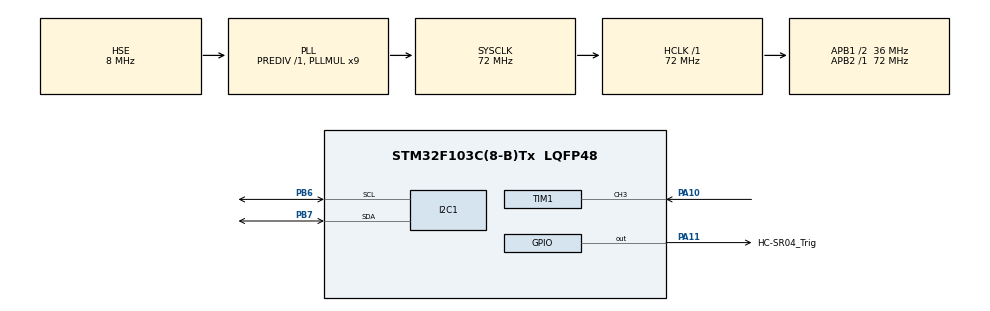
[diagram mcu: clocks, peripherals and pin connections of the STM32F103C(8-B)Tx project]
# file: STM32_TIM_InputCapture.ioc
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Mcu.Family=STM32F1
Mcu.Name=STM32F103C(8-B)Tx
Mcu.Package=LQFP48
NVIC.PriorityGroup=NVIC_PRIORITYGROUP_4
NVIC.TIM1_CC_IRQn=true\:0\:0\:false\:false\:true\:true\:true\:true
PA10.Signal=S_TIM1_CH3
PA11.GPIO_Label=HC-SR04_Trig
PA11.Signal=GPIO_Output
PA13.Mode=Serial_Wire
PA13.Signal=SYS_JTMS-SWDIO
PA14.Mode=Serial_Wire
PA14.Signal=SYS_JTCK-SWCLK
PB6.Mode=I2C
PB6.Signal=I2C1_SCL
PB7.Mode=I2C
PB7.Signal=I2C1_SDA
PD0-OSC_IN.Mode=HSE-External-Oscillator
PD0-OSC_IN.Signal=RCC_OSC_IN
PD1-OSC_OUT.Mode=HSE-External-Oscillator
PD1-OSC_OUT.Signal=RCC_OSC_OUT
ProjectManager.HeapSize=0x200
ProjectManager.StackSize=0x400
ProjectManager.TargetToolchain=STM32CubeIDE
RCC.AHBFreq_Value=72000000
RCC.APB1CLKDivider=RCC_HCLK_DIV2
RCC.APB1Freq_Value=36000000
RCC.APB1TimFreq_Value=72000000
RCC.APB2Freq_Value=72000000
RCC.APB2TimFreq_Value=72000000
RCC.HCLKFreq_Value=72000000
RCC.PLLMUL=RCC_PLL_MUL9
RCC.PLLSourceVirtual=RCC_PLLSOURCE_HSE
RCC.SYSCLKFreq_VALUE=72000000
RCC.SYSCLKSource=RCC_SYSCLKSOURCE_PLLCLK
RCC.USBFreq_Value=72000000
SH.S_TIM1_CH3.0=TIM1_CH3,Input_Capture3_from_TI3
TIM1.Channel-Input_Capture3_from_TI3=TIM_CHANNEL_3
TIM1.Channel-Input_Capture4_from_TI3_63=TIM_CHANNEL_4
TIM1.ICPolarity_CH4=TIM_INPUTCHANNELPOLARITY_FALLING
TIM1.Prescaler=72-1
VP_TIM1_VS_ClockSourceINT.Mode=Internal
VP_TIM1_VS_indirect_ch3.Mode=Input_Capture4_from_TI3_63
board=custom

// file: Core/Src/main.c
/* USER CODE BEGIN Header */
/**
  ******************************************************************************
  * @file           : main.c
  * @brief          : Main program body
  ******************************************************************************
  * @attention
  *
  * Copyright (c) 2025 STMicroelectronics.
  * All rights reserved.
  *
  * This software is licensed under terms that can be found in the LICENSE file
  * in the root directory of this software component.
  * If no LICENSE file comes with this software, it is provided AS-IS.
  *
  ******************************************************************************
  */
/* USER CODE END Header */
#include "main.h"
#include "i2c.h"
#include "tim.h"
#include "gpio.h"

/* USER CODE BEGIN Includes */
#include "oled.h"
#include "string.h"
#include "stdio.h"
/* USER CODE END Includes */

/* USER CODE BEGIN PV */
static uint32_t upEdge=0;
static uint32_t downEdge=0;
static float distance=0;
/* USER CODE END PV */

void SystemClock_Config(void);

/* USER CODE BEGIN 0 */
void HAL_TIM_IC_CaptureCallback(TIM_HandleTypeDef *htim)
{
    if (htim==&htim1 && htim->Channel==HAL_TIM_ACTIVE_CHANNEL_4)
    {
        upEdge=HAL_TIM_ReadCapturedValue(&htim1,TIM_CHANNEL_3);
        downEdge= HAL_TIM_ReadCapturedValue(&htim1,TIM_CHANNEL_4);
        distance=((downEdge-upEdge)*0.034)/2;

    }

}
/* USER CODE END 0 */

int main(void)
{

  /* MCU Configuration--------------------------------------------------------*/

  /* Reset of all peripherals, Initializes the Flash interface and the Systick. */
  HAL_Init();

  /* Configure the system clock */
  SystemClock_Config();

  /* Initialize all configured peripherals */
  MX_GPIO_Init();
  MX_I2C1_Init();
  MX_TIM1_Init();
  /* USER CODE BEGIN 2 */
    HAL_Delay(20);
    OLED_Init();
    HAL_TIM_Base_Start(&htim1);//可省略
    HAL_TIM_IC_Start(&htim1,TIM_CHANNEL_3);
    HAL_TIM_IC_Start_IT(&htim1,TIM_CHANNEL_4);
    OLED_Clean();
    char message[30];

  /* USER CODE END 2 */

  /* Infinite loop */
  while (1)
  {
      HAL_GPIO_WritePin(HC_SR04_Trig_GPIO_Port,HC_SR04_Trig_Pin,GPIO_PIN_SET);
      HAL_Delay(1);
      HAL_GPIO_WritePin(HC_SR04_Trig_GPIO_Port,HC_SR04_Trig_Pin,GPIO_PIN_RESET);
      __HAL_TIM_SET_COUNTER(&htim1,0);//计时器归零防止多次测量后溢出
      HAL_Delay(20);

    OLED_Clean();
      sprintf(message,"%.1f cm",distance);
      OLED_PrintASCIIString(0,0,message,&afont16x8,OLED_COLOR_NORMAL);
    OLED_ShowFrame();
      HAL_Delay(500);
  }
}

void SystemClock_Config(void)
{
  RCC_OscInitTypeDef RCC_OscInitStruct = {0};
  RCC_ClkInitTypeDef RCC_ClkInitStruct = {0};

  /** Initializes the RCC Oscillators according to the specified parameters
  * in the RCC_OscInitTypeDef structure.
  */
  RCC_OscInitStruct.OscillatorType = RCC_OSCILLATORTYPE_HSE;
  RCC_OscInitStruct.HSEState = RCC_HSE_ON;
  RCC_OscInitStruct.HSEPredivValue = RCC_HSE_PREDIV_DIV1;
  RCC_OscInitStruct.HSIState = RCC_HSI_ON;
  RCC_OscInitStruct.PLL.PLLState = RCC_PLL_ON;
  RCC_OscInitStruct.PLL.PLLSource = RCC_PLLSOURCE_HSE;
  RCC_OscInitStruct.PLL.PLLMUL = RCC_PLL_MUL9;
  if (HAL_RCC_OscConfig(&RCC_OscInitStruct) != HAL_OK)
  {
    Error_Handler();
  }

  /** Initializes the CPU, AHB and APB buses clocks
  */
  RCC_ClkInitStruct.ClockType = RCC_CLOCKTYPE_HCLK|RCC_CLOCKTYPE_SYSCLK
                              |RCC_CLOCKTYPE_PCLK1|RCC_CLOCKTYPE_PCLK2;
  RCC_ClkInitStruct.SYSCLKSource = RCC_SYSCLKSOURCE_PLLCLK;
  RCC_ClkInitStruct.AHBCLKDivider = RCC_SYSCLK_DIV1;
  RCC_ClkInitStruct.APB1CLKDivider = RCC_HCLK_DIV2;
  RCC_ClkInitStruct.APB2CLKDivider = RCC_HCLK_DIV1;

  if (HAL_RCC_ClockConfig(&RCC_ClkInitStruct, FLASH_LATENCY_2) != HAL_OK)
  {
    Error_Handler();
  }
}

void Error_Handler(void)
{
  __disable_irq();
  while (1)
  {
  }
}
